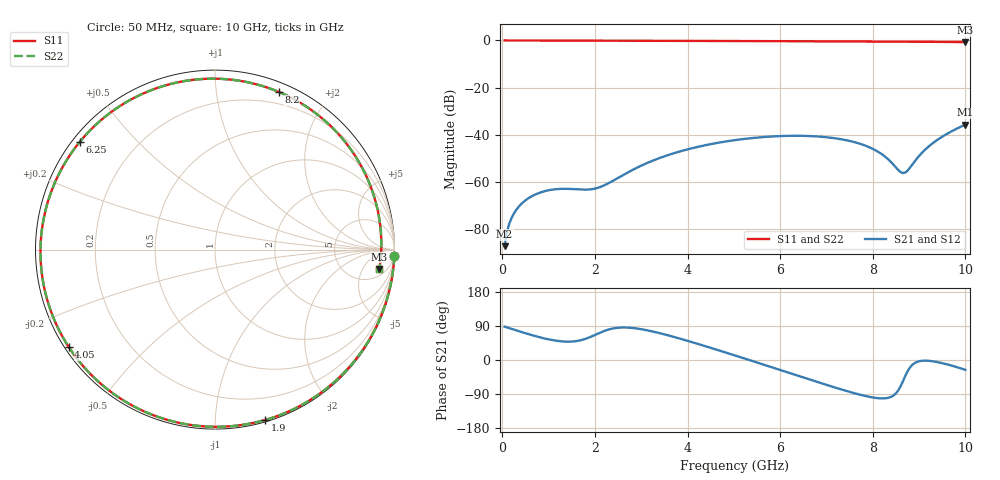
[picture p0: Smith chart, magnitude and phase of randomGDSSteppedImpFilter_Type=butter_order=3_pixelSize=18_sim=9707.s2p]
! freq	dB(S11)	phase(S11)	dB(S12)	phase(S12)
!  dB(S21)	phase(S21)	dB(S22)	phase(S22)
!S-par simulation data
#  GHz  S  DB  R 50
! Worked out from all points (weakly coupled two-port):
!   200 points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, 50 MHz to 10 GHz, reference 50 ohm
!   highest |S21| = -35.70 dB at 10 GHz (marker M1); lowest = -87.3 dB at 50 MHz (marker M2)
!   lowest |S11| = -0.7 dB at 10 GHz (marker M3), VSWR 24.76, Z = 396 - j576 ohm
!   |S11| at or under -10 dB: nowhere
!   |S22| runs from -0.7 to 0.0 dB; largest |S21 - S12| = 0
!   S11 on the Smith chart (normalised r, x): 50 MHz: 0, -56; 1.9 GHz: 0.01, -1.34; 4.05 GHz: 0.01, -0.30; 6.25 GHz: 0.02, +0.35; 8.2 GHz: 0.09, +1.48; 10 GHz: 8, -12
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0.05  -0.00 -2.0  -87.26 88.0  -87.26 88.0  -0.00 -2.0
0.1  -0.00 -4.1  -81.26 86.0  -81.26 86.0  -0.00 -4.1
0.25  -0.02 -10.1  -73.42 80.2  -73.42 80.2  -0.02 -10.1
0.35  -0.02 -14.1  -70.63 76.3  -70.63 76.3  -0.02 -14.1
0.65  -0.03 -26.0  -65.94 65.3  -65.94 65.3  -0.03 -26.0
1.1  -0.05 -43.6  -63.22 52.2  -63.22 52.2  -0.05 -43.6
1.75  -0.08 -68.1  -63.28 54.0  -63.28 54.0  -0.08 -68.1
1.9  -0.09 -73.6  -63.17 60.7  -63.17 60.7  -0.09 -73.6
2.6  -0.12 -98.4  -57.17 85.8  -57.17 85.8  -0.12 -98.4
3.4  -0.15 -125.3  -49.85 70.8  -49.85 70.8  -0.15 -125.3
4.05  -0.18 -146.4  -45.94 48.8  -45.94 48.8  -0.18 -146.4
5.05  -0.24 -178.5  -42.21 11.0  -42.21 11.0  -0.24 -178.5
5.65  -0.28 161.9  -40.96 -12.4  -40.96 -12.4  -0.28 161.9
6.25  -0.32 141.5  -40.44 -36.2  -40.44 -36.2  -0.32 141.5
6.7  -0.36 125.6  -40.60 -53.9  -40.60 -53.9  -0.36 125.6
7.5  -0.41 95.7  -42.62 -84.1  -42.62 -84.1  -0.41 95.7
8.2  -0.47 67.9  -48.31 -101.4  -48.31 -101.4  -0.47 67.9
8.35  -0.48 61.8  -50.73 -99.2  -50.73 -99.2  -0.48 61.8
8.6  -0.50 51.5  -55.82 -69.6  -55.82 -69.6  -0.50 51.5
8.7  -0.51 47.4  -56.04 -42.6  -56.04 -42.6  -0.51 47.4
9.25  -0.57 24.5  -44.27 -2.7  -44.27 -2.7  -0.57 24.5
10  -0.70 -6.8  -35.70 -25.9  -35.70 -25.9  -0.70 -6.8
